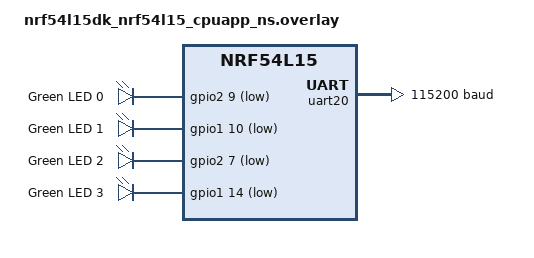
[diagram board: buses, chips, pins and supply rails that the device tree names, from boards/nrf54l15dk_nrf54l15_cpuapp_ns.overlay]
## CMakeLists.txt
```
cmake_minimum_required(VERSION 3.20.0)

find_package(Zephyr REQUIRED HINTS $ENV{ZEPHYR_BASE})
project(gradient_srv)

# Workaround for NCS 3.0.1 build failure on nRF54L15
# Ensures soc.c correctly identifies the Zephyr environment during TF-M build
if(CONFIG_TF_M)
	set(TFM_PLATFORM_EXT_CONFIG_FLAGS "-D__ZEPHYR__=1 -DMBEDTLS_PSA_CRYPTO_USER_CONFIG_FILE=\\\"nrf-psa-crypto-user-config.h\\\"" CACHE STRING "TFM extra flags" FORCE)
endif()

# NORDIC SDK APP START
target_sources(app PRIVATE
	src/main.c
	src/model_handler.c
	src/gradient_srv.c
	src/neighbor_table.c
	src/routing_policy.c
	src/led_indication.c
	src/data_forward.c
	src/gradient_work.c
	src/reverse_routing.c
	src/heartbeat.c
	src/shell_commands.c
	src/packet_stats.c
	src/sensor_manager.c
	src/sensor_shell.c
	src/storage.c
	src/teds_tlv.c)
target_include_directories(app PRIVATE include)
# NORDIC SDK APP END
```

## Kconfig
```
#
# Copyright (c) 2020 Nordic Semiconductor
#
# SPDX-License-Identifier: LicenseRef-Nordic-5-Clause
#

source "Kconfig.zephyr"

menu "Nordic Bluetooth Mesh chat client sample"

config BT_MESH_GRADIENT_SRV_FORWARDING_TABLE_SIZE
    int "Forwarding table size"
    default 15
    range 1 255
    help
      Maximum number of entries in the forwarding table.
      Each entry contains address, RSSI, and gradient information
      for routing decisions. Larger values provide more routing
      options but consume more memory.

config BT_MESH_GRADIENT_SRV_MESSAGE_LENGTH
    int "Max length of the message to be sent over mesh"
    default 40
    range 0 255
    help
      Impacts on memory size occupied by the buffer of a message to be
      published. This does not include null terminator. The message must also
      fit into the application SDU. Adjust BT_MESH_TX_SEG_MAX and
      BT_MESH_RX_SEG_MAX to be able to receive the longest messages.

config BT_MESH_CHAT_SAMPLE_PRESENCE_CACHE_SIZE
    int "Presence cache size"
    default 10
    range 0 32767
    help
      Presence cache stores previously received presence of chat clients.
      Recommended to be as big as number of chat clients in the mesh network.

config BT_MESH_GRADIENT_SINK_NODE
    bool "Configure this node as sink node"
    default n
    help
      If enabled, this node will be configured as the sink node
      (gradient = 0) in the gradient routing protocol.
      Only ONE node in the network should have this enabled.

config BT_MESH_GRADIENT_SRV_HEARTBEAT_ENABLED
    bool "Enable heartbeat mechanism for route maintenance"
    default y
    help
      When enabled, each node (except Gateway) will periodically send
      a heartbeat DATA packet to maintain its route in the reverse
      routing tables of upstream nodes and Gateway.
      
      This ensures Gateway can always send BACKPROP_DATA to any node,
      even if that node hasn't sent real data recently.

config BT_MESH_GRADIENT_SRV_HEARTBEAT_INTERVAL_SEC
    int "Heartbeat maintenance interval in seconds (Stable state)"
    default 3600
    range 10 7200
    depends on BT_MESH_GRADIENT_SRV_HEARTBEAT_ENABLED
    help
      The interval between heartbeats when the network is STABLE (Maintenance Mode).
      
      The system uses an Adaptive Heartbeat mechanism:
      1. Starts FAST (5s) when joining or changing parent.
      2. Slows down gradually (10s -> 20s).
      3. Finally settles at THIS value (default 3600s = 1 hour).
      
      Note: This value must be significantly smaller than RRT_TIMEOUT_SEC.

config BT_MESH_GRADIENT_SRV_RRT_TIMEOUT_SEC
    int "Reverse routing table entry timeout in seconds"
    default 7200
    range 60 20000
    help
      How long a reverse route entry stays valid without being refreshed.
      
      When a node sends DATA (including heartbeat), the route to that node
      is refreshed. If no DATA is received from a node within this timeout,
      the route entry will be removed.
      
      Recommended: At least 2x HEARTBEAT_INTERVAL_SEC.
      Default 7200s (2 hours) allows a node in Maintenance Mode (1 hour)
      to miss one heartbeat packet without losing connectivity.

config BT_MESH_GRADIENT_SRV_RRT_MAX_DEST
    int "Max reverse routes per neighbor"
    default 45
    range 5 500
    help
      Maximum number of destination nodes that can be stored in the 
      Reverse Routing Table for a single immediate neighbor.
      
      For the Gateway (Sink Node), this value should be at least equal 
      to the total number of nodes in the network, as one neighbor 
      might be the next-hop for all other nodes.
      
      Impact: Higher values consume more heap memory (approx 16 bytes per entry).

config BT_MESH_TOPO_POLL_INTERVAL
    int "Topology polling interval in seconds (Sink broadcasts OP_TOPO_REQ)"
    default 30
    range 10 120
    help
      How often the Sink node broadcasts a topology request to all nodes.
      Each sensor will respond with its neighborhood snapshot after a
      random jitter delay (0-8s). Lower values give fresher data for ML
      but increase network overhead.

endmenu

module = bt_mesh_gradient_srv
module-str = BT Mesh Chat Client model
source "${ZEPHYR_BASE}/subsys/logging/Kconfig.template.log_config"
```

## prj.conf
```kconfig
#
# Copyright (c) 2020 Nordic Semiconductor ASA
#
# SPDX-License-Identifier: LicenseRef-Nordic-5-Clause
#
CONFIG_NCS_SAMPLES_DEFAULTS=y

# Enable logging
CONFIG_LOG=y
CONFIG_LOG_BUFFER_SIZE=4096

# Deferred logging helps improve LPN power consumption
# when friendship is established.
CONFIG_LOG_MODE_DEFERRED=y

# General configuration
CONFIG_NCS_APPLICATION_BOOT_BANNER_STRING="Mesh Chat"
CONFIG_SYSTEM_WORKQUEUE_STACK_SIZE=4096
CONFIG_FLASH=y
CONFIG_FLASH_MAP=y
CONFIG_NVS=y
CONFIG_SETTINGS=y
CONFIG_NVS_LOOKUP_CACHE=y
CONFIG_SETTINGS_NVS_NAME_CACHE=y
CONFIG_HWINFO=y
CONFIG_DK_LIBRARY=y
CONFIG_PM_PARTITION_SIZE_SETTINGS_STORAGE=0x8000
CONFIG_SOC_FLASH_NRF_PARTIAL_ERASE=y

# Bluetooth configuration
CONFIG_BT=y
CONFIG_BT_DEVICE_NAME="Mesh Chat"
CONFIG_BT_L2CAP_TX_BUF_COUNT=8
CONFIG_BT_OBSERVER=y
CONFIG_BT_PERIPHERAL=y
CONFIG_BT_SETTINGS=y

# Disable unused Bluetooth features
CONFIG_BT_CTLR_LE_ENC=n
CONFIG_BT_PHY_UPDATE=n
CONFIG_BT_CTLR_CHAN_SEL_2=n
CONFIG_BT_CTLR_MIN_USED_CHAN=n
CONFIG_BT_CTLR_PRIVACY=n

# Bluetooth Mesh configuration
CONFIG_BT_MESH=y
CONFIG_BT_MESH_FRIEND=n
CONFIG_BT_MESH_PB_GATT=y
CONFIG_BT_MESH_GATT_PROXY=y
CONFIG_BT_MESH_DK_PROV=y
CONFIG_GPIO=y

CONFIG_BT_MESH_CRPL=64
CONFIG_BT_MESH_SEQ_STORE_RATE=50000

# Cấu hình Hiệu năng cao (Tối ưu cho 40 node báo cáo đồng thời)
CONFIG_BT_MESH_TX_SEG_MSG_COUNT=20
CONFIG_BT_MESH_RX_SEG_MSG_COUNT=40
CONFIG_BT_MESH_RX_SEG_MAX=20
CONFIG_BT_MESH_TX_SEG_MAX=20

# Nâng cấp bảng định tuyến cho mạng lớn (40-60 node)
CONFIG_BT_MESH_GRADIENT_SRV_FORWARDING_TABLE_SIZE=60
CONFIG_BT_MESH_GRADIENT_SRV_RRT_MAX_DEST=60

# Tăng bộ đệm quảng cáo (Quan trọng để giải phóng hàng đợi nhanh)
CONFIG_BT_MESH_ADV_BUF_COUNT=64

# Enable Bluetooth Mesh models debug logs
CONFIG_BT_MESH_LOG_LEVEL_DBG=y

# Enable Shell module and use UART as a backend
CONFIG_SHELL=y
CONFIG_SHELL_BACKEND_SERIAL=y
CONFIG_FLASH_SHELL=n

# Enable heap for dynamic memory allocation (k_malloc/k_free)
CONFIG_HEAP_MEM_POOL_SIZE=4096


# QUAN TRỌNG: Ngăn Shell đợi tín hiệu DTR (Data Terminal Ready)
# Vì Raspberry Pi nối GPIO sẽ không gửi tín hiệu DTR này.
CONFIG_SHELL_BACKEND_SERIAL_CHECK_DTR=n
CONFIG_UART_LINE_CTRL=n

# Đảm bảo log đi qua UART ngay lập tức (hạn chế buffer quá lâu)
CONFIG_LOG_PROCESS_TRIGGER_THRESHOLD=1
CONFIG_LOG_PROCESS_THREAD_STARTUP_DELAY_MS=0
CONFIG_LOG_BACKEND_RTT=n

# --- Topology Reporting ---
CONFIG_BT_MESH_TOPO_POLL_INTERVAL=60

#CONFIG_BT_MESH_GRADIENT_SINK_NODE=y

# Enable Mesh Statistics for Topo reporting (Queue Load)
CONFIG_BT_MESH_STATISTIC=y


# --- Sensor Management (IEEE 1451) ---
CONFIG_ADC=y
CONFIG_CJSON_LIB=y
CONFIG_FPU=y
CONFIG_CBPRINTF_FP_SUPPORT=y
```

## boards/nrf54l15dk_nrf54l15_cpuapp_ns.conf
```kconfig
#
# Copyright (c) 2024 Nordic Semiconductor ASA
#
# SPDX-License-Identifier: LicenseRef-Nordic-5-Clause
#
################################################################################
# Application overlay - nrf54l15 (Non-Secure)

CONFIG_SOC_FLASH_NRF_PARTIAL_ERASE=n
CONFIG_NVS=n
CONFIG_NVS_LOOKUP_CACHE=n
CONFIG_SETTINGS_NVS_NAME_CACHE=n
CONFIG_ZMS=y
CONFIG_SETTINGS_ZMS_CUSTOM_SECTOR_COUNT=y
CONFIG_SETTINGS_ZMS_SECTOR_COUNT=8
CONFIG_ZMS_LOOKUP_CACHE=y
CONFIG_ZMS_LOOKUP_CACHE_SIZE=512
CONFIG_ZMS_LOOKUP_CACHE_FOR_SETTINGS=y
CONFIG_SYSTEM_WORKQUEUE_STACK_SIZE=4096
CONFIG_BT_RX_STACK_SIZE=5120
```

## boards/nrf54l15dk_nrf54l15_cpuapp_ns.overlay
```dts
/ {
    leds {
        compatible = "gpio-leds";
        led0: led_0 {
            gpios = <&gpio2 9 GPIO_ACTIVE_LOW>;
            label = "Green LED 0";
        };
        led1: led_1 {
            gpios = <&gpio1 10 GPIO_ACTIVE_LOW>;
            label = "Green LED 1";
        };
        led2: led_2 {
            gpios = <&gpio2 7 GPIO_ACTIVE_LOW>;
            label = "Green LED 2";
        };
        led3: led_3 {
            gpios = <&gpio1 14 GPIO_ACTIVE_LOW>;
            label = "Green LED 3";
        };
    };
};

/* ========================================================================
 * CẤU HÌNH UART CHO RASPBERRY PI
 * Tắt Hardware Flow Control để giao tiếp chỉ với 3 dây (TX, RX, GND)
 * ======================================================================== */

&uart20 {
    /* Xóa thuộc tính yêu cầu chân RTS/CTS */
    /delete-property/ hw-flow-control;
    
    /* Đảm bảo tốc độ Baudrate khớp với Raspberry Pi */
    current-speed = <115200>;
};
```

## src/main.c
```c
/*
 * Copyright (c) 2019 Nordic Semiconductor ASA
 *
 * SPDX-License-Identifier: LicenseRef-Nordic-5-Clause
 */

/** @file
 *  @brief Nordic Mesh light sample
 */
#include <zephyr/bluetooth/bluetooth.h>
#include <bluetooth/mesh/models.h>
#include <bluetooth/mesh/dk_prov.h>
#include <dk_buttons_and_leds.h>
#include "model_handler.h"
#include "storage.h"
#include "sensor_manager.h"

#include <zephyr/logging/log.h>
LOG_MODULE_REGISTER(chat, CONFIG_LOG_DEFAULT_LEVEL);

static void bt_ready(int err)
{
	if (err) {
		printk("Bluetooth init failed (err %d)\n", err);
		return;
	}

	printk("Bluetooth initialized\n");

	err = dk_leds_init();
	if (err) {
		printk("Initializing LEDs failed (err %d)\n", err);
		return;
	}

	err = dk_buttons_init(NULL);
	if (err) {
		printk("Initializing buttons failed (err %d)\n", err);
		return;
	}

	err = bt_mesh_init(bt_mesh_dk_prov_init(), model_handler_init());
	if (err) {
		printk("Initializing mesh failed (err %d)\n", err);
		return;
	}

	if (IS_ENABLED(CONFIG_SETTINGS)) {
		settings_load();
	}

	/* This will be a no-op if settings_load() loaded provisioning info */
	bt_mesh_prov_enable(BT_MESH_PROV_ADV | BT_MESH_PROV_GATT);

	printk("Mesh initialized\n");
}

int main(void)
{
	int err;

	printk("Initializing...\n");

	/* Initialize Sensor Storage & Manager */
	storage_init();
	sensor_manager_init();

	err = bt_enable(bt_ready);
	if (err) {
		printk("Bluetooth init failed (err %d)\n", err);
	}

	return 0;
}
```

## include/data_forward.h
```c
/*
 * Copyright (c) 2024 Nordic Semiconductor ASA
 *
 * SPDX-License-Identifier: LicenseRef-Nordic-5-Clause
 */

#ifndef DATA_FORWARD_H
#define DATA_FORWARD_H

#include "gradient_srv.h"
#include <stdint.h>

#ifdef __cplusplus
extern "C" {
#endif

/**
 * @brief Initialize data forwarding module
 *
 * Must be called before using any data forwarding functions.
 */
void data_forward_init(void);

/**
 * @brief Forward data packet to next hop
 *
 * Attempts to send data to the best next hop. If sending fails,
 * automatically retries with the next entry in forwarding table.
 * Packet format: [original_source: 2 bytes] + [data: 2 bytes]
 *
 * @param gradient_srv Pointer to gradient server instance
 * @param data Data payload to forward
 * @param original_source Address of node that originally created the packet
 * @param sender_addr Address of immediate sender (to avoid sending back)
 *
 * @return 0 on success, negative error code on failure
 */
int data_forward_send(struct bt_mesh_gradient_srv *gradient_srv,
                      uint16_t data, uint16_t original_source, 
                      uint16_t sender_addr, uint8_t current_hop_count,
                      int8_t path_min_rssi);

/**
 * @brief Send data packet directly (for button press, no retry on sender skip)
 *
 * @param gradient_srv Pointer to gradient server instance
 * @param addr Destination address
 * @param data Data payload to send
 *
 * @return 0 on success, negative error code on failure
 */
int data_forward_send_direct(struct bt_mesh_gradient_srv *gradient_srv,
                             uint16_t addr, uint16_t data, 
                             int8_t initial_rssi);

const neighbor_entry_t *find_strict_upstream_parent(
    struct bt_mesh_gradient_srv *srv, uint16_t exclude_addr);

#ifdef __cplusplus
}
#endif

#endif /* DATA_FORWARD_H */
```

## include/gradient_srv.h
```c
#ifndef BT_MESH_GRADIENT_SRV_H__
#define BT_MESH_GRADIENT_SRV_H__

#include <zephyr/bluetooth/mesh.h>
#include <bluetooth/mesh/model_types.h>
#include "gradient_types.h"

#ifdef __cplusplus
extern "C" {
#endif

/* .. include_startingpoint_gradient_srv_rst_1 */
#define BT_MESH_GRADIENT_SRV_VENDOR_COMPANY_ID    CONFIG_BT_COMPANY_ID_NORDIC

/** Model ID of the Gradient Server model. */
#define BT_MESH_GRADIENT_SRV_VENDOR_MODEL_ID      0x000A

/** Gradient message opcode. */
#define BT_MESH_GRADIENT_SRV_OP_GRADIENT_STATUS BT_MESH_MODEL_OP_3(0x0A, \
                        BT_MESH_GRADIENT_SRV_VENDOR_COMPANY_ID)

/** Data message opcode. */
#define BT_MESH_GRADIENT_SRV_OP_DATA_MESSAGE BT_MESH_MODEL_OP_3(0x0B, \
                        BT_MESH_GRADIENT_SRV_VENDOR_COMPANY_ID)

/** Backprop data message opcode (downlink from Gateway to nodes). */
#define BT_MESH_GRADIENT_SRV_OP_BACKPROP_DATA BT_MESH_MODEL_OP_3(0x0C, \
                        BT_MESH_GRADIENT_SRV_VENDOR_COMPANY_ID)

/* [NEW] Report Request opcode (Broadcast from Sink to Nodes - STOP & REPORT) */
#define BT_MESH_GRADIENT_SRV_OP_REPORT_REQ BT_MESH_MODEL_OP_3(0x0D, \
                        BT_MESH_GRADIENT_SRV_VENDOR_COMPANY_ID)

/* [NEW] Report Response opcode (Unicast from Node to Sink with TotalTx) */
#define BT_MESH_GRADIENT_SRV_OP_REPORT_RSP BT_MESH_MODEL_OP_3(0x0E, \
                        BT_MESH_GRADIENT_SRV_VENDOR_COMPANY_ID)

/* [NEW] Test Start opcode (Broadcast from Sink to Nodes - START) */
#define BT_MESH_GRADIENT_SRV_OP_TEST_START BT_MESH_MODEL_OP_3(0x0F, \
                        BT_MESH_GRADIENT_SRV_VENDOR_COMPANY_ID)

/* [NEW] Report ACK opcode (Unicast from Sink to Node - Reliability) */
#define BT_MESH_GRADIENT_SRV_OP_REPORT_ACK BT_MESH_MODEL_OP_3(0x10, \
                        BT_MESH_GRADIENT_SRV_VENDOR_COMPANY_ID)

/* [NEW] Report Request Unicast opcode (Unicast from Sink to Node - STRESS STATS) */
#define BT_MESH_GRADIENT_SRV_OP_REPORT_REQ_UNICAST BT_MESH_MODEL_OP_3(0x11, \
                        BT_MESH_GRADIENT_SRV_VENDOR_COMPANY_ID)

/* [NEW] Downlink Report opcode (Unicast from Sink to Node - FINAL STATS) */
#define BT_MESH_GRADIENT_SRV_OP_DOWNLINK_REPORT BT_MESH_MODEL_OP_3(0x12, \
                        BT_MESH_GRADIENT_SRV_VENDOR_COMPANY_ID)

/* [NEW] PONG opcode (Downlink response to DATA) */
#define BT_MESH_GRADIENT_SRV_OP_PONG BT_MESH_MODEL_OP_3(0x13, \
                        BT_MESH_GRADIENT_SRV_VENDOR_COMPANY_ID)

/* [NEW] Topology Request opcode (Broadcast from Sink to Nodes) */
#define BT_MESH_GRADIENT_SRV_OP_TOPO_REQ BT_MESH_MODEL_OP_3(0x14, \
                        BT_MESH_GRADIENT_SRV_VENDOR_COMPANY_ID)

/* [NEW] Topology Report opcode (Uplink from Node to Sink) */
#define BT_MESH_GRADIENT_SRV_OP_TOPO_REP BT_MESH_MODEL_OP_3(0x15, \
                        BT_MESH_GRADIENT_SRV_VENDOR_COMPANY_ID)

/* [NEW] Backprop Broadcast (Phase 1 Hybrid Push) */
#define BT_MESH_GRADIENT_SRV_OP_BACKPROP_BROADCAST BT_MESH_MODEL_OP_3(0x16, \
                        BT_MESH_GRADIENT_SRV_VENDOR_COMPANY_ID)

/* [NEW] Sensor Interval opcode — Gateway → Node (unicast or broadcast) */
/* Sets the periodic SENSOR_DATA transmission interval for a target node.  */
/* Payload: dest_addr(2B LE) + interval_sec(2B LE) + ttl(1B) = 5 bytes     */
/* dest_addr == 0xFFFF → broadcast to ALL non-sink nodes (no relay needed) */
#define BT_MESH_GRADIENT_SRV_OP_SENSOR_INTERVAL BT_MESH_MODEL_OP_3(0x17, \
                        BT_MESH_GRADIENT_SRV_VENDOR_COMPANY_ID)

/* [NEW] Sensor Data Telemetry opcode — Uplink from Node to Sink */
/* Payload: Src(2B) + Hop(1B) + Count(1B) + [ID(1B) + Val(2B)] * Count */
#define BT_MESH_GRADIENT_SRV_OP_SENSOR_DATA     BT_MESH_MODEL_OP_3(0x18, \
                        BT_MESH_GRADIENT_SRV_VENDOR_COMPANY_ID)

#define BT_MESH_GRADIENT_SRV_MSG_MINLEN_MESSAGE  1
#define BT_MESH_GRADIENT_SRV_MSG_MAXLEN_MESSAGE  64 /* Increased safety margin */
#define BT_MESH_GRADIENT_SRV_DATA_MSG_LEN        7  /* Src(2)+Data(2)+TTL(1)+Hop(1)+MinRSSI(1) */
#define BT_MESH_GRADIENT_SRV_BACKPROP_DEFAULT_TTL  10

/** Minimum TTL to forward (drop if TTL <= this value) */
#define BT_MESH_GRADIENT_SRV_BACKPROP_MIN_TTL      1

/** Heartbeat data marker - distinguishes heartbeat from real data */
#define BT_MESH_GRADIENT_SRV_HEARTBEAT_MARKER      0xFFFF


#define REPORT_RETRY_TIMEOUT_MS 3000 // Tăng thời gian chờ cơ bản
#define REPORT_MAX_RETRIES      10   // Tăng số lần thử lại tối đa

#ifndef CONFIG_BT_MESH_GRADIENT_SRV_NODE_TIMEOUT_MS
#define CONFIG_BT_MESH_GRADIENT_SRV_NODE_TIMEOUT_MS 120000  // 120 giây (Publish every 40s)
#endif

/**
 * @brief Forwarding table context - alias to neighbor_entry_t
 * * Uses neighbor_entry_t from gradient_types.h for consistency across modules.
 */
typedef neighbor_entry_t bt_mesh_gradient_srv_forwarding_ctx;

/* Forward declaration of the Bluetooth Mesh Chat Client model context. */
struct bt_mesh_gradient_srv;

/* .. include_startingpoint_gradient_srv_rst_2 */
/** @def BT_MESH_MODEL_GRADIENT_SRV
 *
 * @brief Bluetooth Mesh Chat Client model composition data entry.
 *
 * @param[in] _gradient Pointer to a @ref bt_mesh_gradient_srv instance.
 */
#define BT_MESH_MODEL_GRADIENT_SRV(_gradient)                                  \
        BT_MESH_MODEL_VND_CB(BT_MESH_GRADIENT_SRV_VENDOR_COMPANY_ID,       \
            BT_MESH_GRADIENT_SRV_VENDOR_MODEL_ID,                      \
            _bt_mesh_gradient_srv_op, &(_gradient)->pub,                   \
            BT_MESH_MODEL_USER_DATA(struct bt_mesh_gradient_srv,       \
                        _gradient),                        \
            &_bt_mesh_gradient_srv_cb)
/* .. include_endpoint_gradient_srv_rst_2 */

/** Bluetooth Mesh Chat Client model handlers. */
struct bt_mesh_gradient_srv_handlers {
    /** @brief Called after the node has been provisioned, or after all
     * mesh data has been loaded from persistent storage.
     *
     * @param[in] cli Chat Client instance that has been started.
     */
    void (*const start)(struct bt_mesh_gradient_srv *chat);

    /** @brief Called when BACKPROP_DATA is received and this node is the destination.
     *
     * @param[in] srv Gradient server instance.
     * @param[in] data The received data payload.
     */
    void (*const data_received)(struct bt_mesh_gradient_srv *srv, uint16_t data);

    /** [NEW] Called when REPORT_REQ is received (Triggered on Sensor Nodes)
     *
     * The application should handle this by stopping transmission and 
     * sending back a REPORT_RSP containing the Total Transmitted Count.
     *
     * @param[in] srv Gradient server instance.
     */
    void (*const report_req_received)(struct bt_mesh_gradient_srv *srv);

    /** [NEW] Called when TEST_START is received (Triggered on Sensor Nodes)
     *
     * The application should handle this by starting the periodic data transmission.
     *
     * @param[in] srv      Gradient server instance.
     * @param[in] interval Packet interval in milliseconds.
     */
    void (*const test_start_received)(struct bt_mesh_gradient_srv *srv, uint16_t interval);

    /** [NEW] Called when SENSOR_DATA is received and this node is the sink (Gateway).
     *
     * @param[in] srv  Gradient server instance.
     * @param[in] src  Original source address.
     * @param[in] pkt  Pointer to parsed sensor packet (stack allocated).
     */
    void (*const sensor_data_received)(struct bt_mesh_gradient_srv *srv, 
                                       uint16_t src, 
                                       const void *pkt);
};

/* ═══════════════════════════════════════════════════════════════════
 * Topology Reporting Constants & Types
 * ═══════════════════════════════════════════════════════════════════ */

/** Maximum neighbors tracked in a single Topology report session */
#define TOPO_REP_MAX_NEIGHBORS  16

/** Neighbors per page: Header=17B, each neighbor=6B, 4 per page = 41B total */
#define TOPO_REP_MAX_PER_PAGE   4

/** Maximum payload bytes in a single TOPO_REP message */
#define TOPO_REP_MAX_PAYLOAD    44  /* 20B header + 4*6B neighbors */

/**
 * @brief Neighbor item for Topology snapshot (packed into TOPO_REP)
 */
struct neighbor_item {
  uint16_t addr;         /**< Mesh unicast address */
  int8_t   rssi;         /**< RSSI at time of snapshot */
  uint8_t  grad;         /**< Gradient value */
  uint16_t link_uptime;  /**< Link uptime in seconds (since first_seen) */
};

/**
 * @brief Sensor-side Topology reporting context
 *        Holds snapshot data and drip-feed state machine.
 */
struct sensor_topo_ctx {
  struct neighbor_item snapshot[TOPO_REP_MAX_NEIGHBORS];
  uint8_t total_valid;             /**< Valid neighbors in snapshot */
  uint8_t total_pages;             /**< Calculated number of pages */
  uint8_t current_page;            /**< Current page being sent (1-indexed) */
  uint16_t last_reported_parent;   /**< For Delta Reporting trigger */
  uint16_t drop_count_snapshot;    /**< [UPD] Queue drop count snapshot (uint16) */
  uint16_t fwd_rate_snapshot;      /**< [NEW] Forward rate snapshot */
  uint32_t total_sent_snapshot;    /**< [NEW] Absolute total packets sent snapshot */
  bool is_reporting;               /**< Lock: true while drip-feed is active */
  uint8_t req_seq_id;              /**< Sequence ID from polling request (0-15) */
  struct k_work_delayable reply_work; /**< Delayed work for drip-feed TX */
};

/* .. include_startingpoint_gradient_srv_rst_3 */
/**
 * Bluetooth Mesh Chat Client model context.
 */
struct bt_mesh_gradient_srv {
    /** Access model pointer. */
    const struct bt_mesh_model *model;
    /** Publish parameters. */
    struct bt_mesh_model_pub pub;
    /** Publication message. */
    struct net_buf_simple pub_msg;
    /** Publication message buffer. */
    uint8_t buf[BT_MESH_MODEL_BUF_LEN(BT_MESH_GRADIENT_SRV_OP_GRADIENT_STATUS,
                      BT_MESH_GRADIENT_SRV_MSG_MAXLEN_MESSAGE)];
    /** Handler function structure. */
    const struct bt_mesh_gradient_srv_handlers *handlers;

    uint8_t gradient;

    /** Mutex to protect forwarding table access */
    struct k_mutex forwarding_table_mutex;

    bt_mesh_gradient_srv_forwarding_ctx
        forwarding_table[
            CONFIG_BT_MESH_GRADIENT_SRV_FORWARDING_TABLE_SIZE];

    /* Reliable Reporting Context */
    struct k_work_delayable report_retry_work;
    uint8_t report_retry_count;
    bool is_report_pending;

    /* Topology Reporting Context */
    struct sensor_topo_ctx topo_ctx;
    struct k_work_delayable topo_poll_work;

    /* [NEW] Account for application-level send failures (Soft Drops) */
    uint32_t soft_drop_count;

    /* [NEW] SDN 2-Phase Commit State */
    uint16_t sdn_next_hop_pending;
    uint16_t sdn_next_hop_active;
    int64_t sdn_route_expiry; // [NEW] Soft-state: Time when active route expires
};
/* .. include_endpoint_gradient_srv_rst_3 */


/** @brief Send Gradient Beacon.
 *
 * @param[in] cli Chat Client model instance to send the message.
 * @param[in] msg Pointer to a text message to send. Must be terminated with
 * a null character, '\0'.
 *
 * @retval 0 Successfully sent the message.
 * @retval -EADDRNOTAVAIL Publishing is not configured.
 * @retval -EAGAIN The device has not been provisioned.
 */
int bt_mesh_gradient_srv_gradient_send(struct bt_mesh_gradient_srv *gradient_srv);

/** @brief Send a text message to a specified destination.
 *
 * @param[in] cli  Chat Client model instance to send the message.
 * @param[in] addr Address of the chat client to send message to.
 * @param[in] msg  Pointer to a text message to send. Must be terminated with
 * a null character, '\0'.
 *
 * @retval 0 Successfully sent the message.
 * @retval -EINVAL The model is not bound to an application key.
 * @retval -EAGAIN The device has not been provisioned.
 */
int bt_mesh_gradient_srv_data_send(struct bt_mesh_gradient_srv *gradient_srv,
                      uint16_t addr,
                      uint16_t data,
                      int8_t initial_rssi);

/** @brief Send BACKPROP_DATA to a specific destination.
 *
 * Looks up the reverse routing table to find nexthop, then sends
 * BACKPROP_DATA packet towards the destination.
 *
 * @param gradient_srv Pointer to gradient server instance.
 * @param dest_addr Address of final destination node.
 * @param payload Data payload to send.
 *
 * @retval 0 Successfully sent the message.
 * @retval -EINVAL Cannot send to self.
 * @retval -ENETUNREACH No route to destination.
 * @retval -EAGAIN The device has not been provisioned.
 */
int bt_mesh_gradient_srv_backprop_send(struct bt_mesh_gradient_srv *gradient_srv,
                                       uint16_t dest_addr,
                                       uint16_t payload);

/** @brief [UPDATED] Broadcast a REPORT REQUEST to all nodes.
 *
 * This function should be called by the SINK NODE to trigger the 
 * end-of-test reporting phase (STOP).
 *
 * @param gradient_srv Pointer to gradient server instance.
 * @param force_new_id If true, increments the request ID for a new session.
 *                     If false, re-uses the current ID for reliable re-transmission.
 * @retval 0 Successfully sent.
 */
int bt_mesh_gradient_srv_send_report_req(struct bt_mesh_gradient_srv *gradient_srv, bool force_new_id);

/** @brief [UPDATED] Broadcast a TEST START command to all nodes.
 *
 * This function should be called by the SINK NODE to trigger the 
 * start of data transmission.
 *
 * @param gradient_srv Pointer to gradient server instance.
 * @param force_new_id If true, increments the test ID for a new session.
 *                     If false, re-uses the current ID for reliable re-transmission.
 * @retval 0 Successfully sent.
 */
int bt_mesh_gradient_srv_send_test_start(struct bt_mesh_gradient_srv *srv, bool force_new_id, uint16_t interval_ms);

/** @brief [NEW] Send a REPORT RESPONSE (Unicast) to the Sink.
 *
 * This function should be called by the SENSOR NODE to report its
 * Total Transmitted Count (PDR calculation).
 *
 * @param gradient_srv Pointer to gradient server instance.
 * @param total_tx Total packets sent during the test.
 * @retval 0 Successfully sent.
 */
int bt_mesh_gradient_srv_report_rsp_send(struct bt_mesh_gradient_srv *gradient_srv);

/** @brief [NEW] Send a DOWNLINK REPORT (Unicast) to a Sensor Node.
 *
 * This function should be called by the SINK NODE to send its final
 * TX count to the target Sensor.
 *
 * @param gradient_srv Pointer to gradient server instance.
 * @param dest_addr Target sensor address.
 * @param total_tx Total packets sent by Sink.
 * @retval 0 Successfully sent.
 */
int bt_mesh_gradient_srv_send_downlink_report(struct bt_mesh_gradient_srv *gradient_srv, 
                                              uint16_t dest_addr, uint16_t total_tx);

/**
 * @brief Send a PONG response to a DATA message (used by Sink)
 * @param gradient_srv Pointer to gradient server
 * @param dest_addr Original source of the DATA message
 * @param seq Sequence number to match
 * @return 0 on success, error code otherwise
 */
int bt_mesh_gradient_srv_send_pong(struct bt_mesh_gradient_srv *gradient_srv, 
                                   uint16_t dest_addr, uint16_t seq);

/** @brief Initialize Topology Reporting subsystem.
 *  Called once during model_handler_init().
 *  @param srv Pointer to gradient server instance.
 */
void topo_routing_init(struct bt_mesh_gradient_srv *srv);

/** @brief Broadcast a TOPO_REQ to all nodes (Sink only).
 *  @param srv Pointer to gradient server instance.
 *  @param commit_flag Boolean to indicate if this is a commit request.
 *  @retval 0 Successfully sent.
 */
int bt_mesh_gradient_srv_send_topo_req(struct bt_mesh_gradient_srv *srv, bool commit_flag);

/** @brief [NEW] Send OP_SENSOR_INTERVAL command to set periodic data interval.
 *
 * Gateway-only function. Sends a command to update the SENSOR_DATA
 * transmission interval of a target node via BACKPROP unicast routing (RRT).
 *
 * @param srv          Pointer to gradient server instance.
 * @param dest_addr    Target node unicast address, OR 0xFFFF to broadcast
 *                     to ALL non-sink nodes in the network.
 * @param interval_sec New interval in seconds (1–65535). 0 is rejected.
 *
 * @retval 0              Successfully sent.
 * @retval -EINVAL        interval_sec == 0, or dest_addr == own address.
 * @retval -ENETUNREACH   No route to unicast destination in RRT.
 * @retval -EAGAIN        Device not provisioned.
 */
int bt_mesh_gradient_srv_send_sensor_interval(
    struct bt_mesh_gradient_srv *srv,
    uint16_t dest_addr,
    uint16_t interval_sec);

/** @brief [NEW] Send multi-sensor data packet to Sink.
 *
 * Collects data from sensor_manager and sends via OP_SENSOR_DATA.
 * Uses Gradient Routing (hop-by-hop) to reach the Sink.
 *
 * @param srv   Pointer to gradient server instance.
 * @param pkt   Pointer to sensor packet to send.
 * @return 0 on success, error code otherwise.
 */
int bt_mesh_gradient_srv_sensor_data_send(struct bt_mesh_gradient_srv *srv,
                                          const void *pkt);

/** @cond INTERNAL_HIDDEN */
extern const struct bt_mesh_model_op _bt_mesh_gradient_srv_op[];
extern const struct bt_mesh_model_cb _bt_mesh_gradient_srv_cb;
/** @endcond */

#ifdef __cplusplus
}
#endif

#endif /* BT_MESH_GRADIENT_SRV_H__ */

/** @} */
```

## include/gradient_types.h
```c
/*
 * Copyright (c) 2024 Nordic Semiconductor ASA
 *
 * SPDX-License-Identifier: LicenseRef-Nordic-5-Clause
 */

#ifndef GRADIENT_TYPES_H
#define GRADIENT_TYPES_H

#include <stdint.h>

/**
 * @brief Unassigned address constant for gradient routing
 */
#define GR_ADDR_UNASSIGNED 0x0000

/**
 * @brief Forward declaration for backprop_node (defined in reverse_routing.h)
 */
struct backprop_node;

/**
 * @brief Neighbor entry structure for gradient routing forwarding table
 * 
 * This is the canonical definition used by neighbor_table module.
 * bt_mesh_gradient_srv_forwarding_ctx in gradient_srv.h is a typedef alias
 * to this same structure.
 */
typedef struct neighbor_entry {
	uint16_t addr;      /**< Mesh unicast address of the neighbor */
	int8_t rssi;        /**< Received signal strength indicator */
	uint8_t gradient;   /**< Gradient value (distance to sink) */
	int64_t last_seen;  /**< Timestamp of last received message (uptime in ms) */
	int64_t first_seen; /**< Timestamp of first discovery (for link uptime) */
	struct backprop_node *backprop_dest; /**< Linked list of reachable destinations (for reverse routing) */
} neighbor_entry_t;

#endif /* GRADIENT_TYPES_H */
```

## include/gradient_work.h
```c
/*
 * Copyright (c) 2024 Nordic Semiconductor ASA
 *
 * SPDX-License-Identifier: LicenseRef-Nordic-5-Clause
 */

#ifndef GRADIENT_WORK_H
#define GRADIENT_WORK_H

#include "gradient_srv.h"
#include <stdint.h>

#ifdef __cplusplus
extern "C" {
#endif

/**
 * @brief Initialize gradient work handlers
 *
 * Initializes all workqueue items for gradient processing.
 * Must be called during model initialization.
 */
void gradient_work_init(void);

/**
 * @brief Start periodic cleanup timer
 *
 * Starts the cleanup work that removes expired neighbors.
 */
void gradient_work_start_cleanup(void);

/**
 * @brief Schedule initial gradient publish
 *
 * Schedules the first gradient beacon to be published after a short delay.
 */
void gradient_work_schedule_initial_publish(void);

/**
 * @brief Schedule gradient processing
 *
 * Queues gradient message for processing in work context.
 *
 * @param gradient_srv Pointer to gradient server instance
 * @param gradient Received gradient value
 * @param sender_addr Address of sender
 * @param rssi RSSI of received message
 */
void gradient_work_schedule_process(struct bt_mesh_gradient_srv *gradient_srv,
                                    uint8_t gradient, uint16_t sender_addr, int8_t rssi);

/**
 * @brief Set global gradient server reference
 *
 * @param gradient_srv Pointer to gradient server instance
 */
void gradient_work_set_srv(struct bt_mesh_gradient_srv *gradient_srv);

#ifdef __cplusplus
}
#endif

#endif /* GRADIENT_WORK_H */
```

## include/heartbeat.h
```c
/*
 * Copyright (c) 2024
 * SPDX-License-Identifier: Apache-2.0
 *
 * Sensor Data Periodic Transmission Module
 * (Formerly: Heartbeat Module)
 *
 * Purpose:
 * - Sends periodic SENSOR_DATA packets (marker 0xFFFF) to maintain reverse routes
 * - Interval configurable at runtime via Gateway command (OP_SENSOR_INTERVAL)
 * - Automatically stops when node becomes Gateway (gradient=0)
 * - Recovers connectivity when topology changes
 */

#ifndef HEARTBEAT_H__
#define HEARTBEAT_H__

#include <stdint.h>
#include <stdbool.h>

#ifdef __cplusplus
extern "C" {
#endif

/* Forward declaration */
struct bt_mesh_gradient_srv;

/**
 * @brief Initialize sensor data transmission module
 *
 * Sets up the work item and timer.
 * Must be called once during system initialization.
 */
void heartbeat_init(void);

/**
 * @brief Start periodic sensor data transmission
 *
 * Begins periodic sensor data cycle.
 * Includes a random initial delay (0-10s) to avoid collision storm.
 *
 * @param srv Pointer to gradient server instance
 *
 * @note Only starts if node is NOT Gateway and Heartbeat is enabled in Kconfig.
 */
void heartbeat_start(struct bt_mesh_gradient_srv *srv);

/**
 * @brief Stop heartbeat transmission
 *
 * Stops the timer. Call when node becomes Gateway or unprovisioned.
 */
void heartbeat_stop(void);

/**
 * @brief Update gradient value for sensor data logic
 *
 * Called when node's gradient changes.
 * - If new gradient is 0 (Gateway): Stops transmission.
 * - If gradient changes (but not 0): Triggers a reset.
 *
 * @param new_gradient New gradient value of this node
 */
void heartbeat_update_gradient(uint8_t new_gradient);

/**
 * @brief Trigger an immediate reset of the transmission cycle
 *
 * Reschedules the next sensor data packet with a short delay (100ms).
 * Call this when topology changes (gradient update, parent change).
 */
void heartbeat_trigger_reset(void);

/**
 * @brief Set the sensor data transmission interval at runtime
 *
 * Updates the interval and reschedules the next transmission immediately.
 * The new interval takes effect on the NEXT scheduled packet.
 *
 * @param interval_sec New interval in seconds (1 - 65535). 0 is rejected.
 *
 * @note NOT persistent across reboots. Reboot resets to default (20s).
 */
void heartbeat_set_interval(uint32_t interval_sec);

/**
 * @brief Get the current transmission interval in milliseconds
 *
 * @return Current interval in milliseconds (default 20000).
 *         Returns 0 if heartbeat is disabled in config.
 */
uint32_t heartbeat_get_interval_ms(void);

/**
 * @brief Check if heartbeat is currently active
 *
 * @return true if heartbeat timer is running
 */
bool heartbeat_is_active(void);

#ifdef __cplusplus
}
#endif

#endif /* HEARTBEAT_H__ */
```

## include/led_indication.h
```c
/*
 * Copyright (c) 2024 Nordic Semiconductor ASA
 *
 * SPDX-License-Identifier: LicenseRef-Nordic-5-Clause
 */

#ifndef LED_INDICATION_H__
#define LED_INDICATION_H__

#include <stdbool.h>

#ifdef __cplusplus
extern "C" {
#endif

/**
 * @brief Initialize LED indication module
 *
 * Must be called before using any other LED indication functions.
 */
void led_indication_init(void);

/**
 * @brief Indicate gradient message received
 *
 * Blinks LED to show a gradient beacon was received from a neighbor.
 */
void led_indicate_gradient_received(void);

/**
 * @brief Indicate data is being forwarded
 *
 * Blinks LED to show data packet is being forwarded towards sink.
 */
void led_indicate_data_forwarded(void);

/**
 * @brief Indicate data arrived at sink
 *
 * Toggles LED to show data packet reached the sink node.
 */
void led_indicate_sink_received(void);

/**
 * @brief Indicate backprop data received at destination
 *
 * Toggles LED 0 to show backprop packet reached the destination node.
 */
void led_indicate_backprop_received(void);

/**
 * @brief Indicate mesh attention state
 *
 * @param on true to start attention indication, false to stop
 */
void led_indicate_attention(bool on);

/**
 * @brief Indicate SDN route commitment
 *
 * Toggles LED 4 to show an AI-driven SDN route has been committed.
 */
void led_indicate_sdn_commit(void);

#ifdef __cplusplus
}
#endif

#endif /* LED_INDICATION_H */
```

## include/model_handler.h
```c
/*
 * Copyright (c) 2020 Nordic Semiconductor ASA
 *
 * SPDX-License-Identifier: LicenseRef-Nordic-5-Clause
 */

/**
 * @file
 * @brief Model handler
 */

#ifndef MODEL_HANDLER_H__
#define MODEL_HANDLER_H__

#include <zephyr/bluetooth/mesh.h>

#ifdef __cplusplus
extern "C" {
#endif

const struct bt_mesh_comp *model_handler_init(void);

void sink_start_test(uint32_t duration_ms, uint16_t interval_ms);
void sink_stop_test(void);

void sink_start_stress_test(uint16_t target_addr); /* [NEW] */

#ifdef __cplusplus
}
#endif

#endif /* MODEL_HANDLER_H__ */
```

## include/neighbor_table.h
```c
/*
 * Copyright (c) 2024 Nordic Semiconductor ASA
 *
 * SPDX-License-Identifier: LicenseRef-Nordic-5-Clause
 */

#ifndef NEIGHBOR_TABLE_H
#define NEIGHBOR_TABLE_H

#include "gradient_types.h"
#include <stddef.h>
#include <stdbool.h>

#ifdef __cplusplus
extern "C" {
#endif

/**
 * @brief Initialize neighbor table entries
 *
 * Sets all entries to unassigned state:
 * - addr = GR_ADDR_UNASSIGNED
 * - rssi = INT8_MIN
 * - gradient = UINT8_MAX
 * - last_seen = 0
 *
 * @param table Pointer to neighbor table array
 * @param table_size Number of entries in the table
 */
void nt_init(neighbor_entry_t *table, size_t table_size);

/**
 * @brief Update neighbor table with sorted insertion
 *
 * Inserts or updates a neighbor entry while maintaining sort order.
 * Sort priority: smaller gradient is better; on tie, higher RSSI is better.
 *
 * If sender already exists in table:
 * - Updates rssi, gradient, last_seen
 * - Moves entry to correct sorted position if needed
 *
 * If sender is new:
 * - Inserts at correct sorted position
 * - Shifts existing entries to make room
 *
 * @param table Pointer to neighbor table array
 * @param table_size Number of entries in the table
 * @param sender_addr Mesh address of the sender
 * @param sender_gradient Gradient value of the sender
 * @param sender_rssi RSSI of the received message
 * @param now_ms Current timestamp in milliseconds (from k_uptime_get)
 *
 * @return true if table was modified, false otherwise
 */
bool nt_update_sorted(neighbor_entry_t *table, size_t table_size,
                      uint16_t sender_addr, uint8_t sender_gradient, int8_t sender_rssi,
                      int64_t now_ms);

/**
 * @brief Get the best (first) entry in the neighbor table
 *
 * @param table Pointer to neighbor table array
 * @param table_size Number of entries in the table
 *
 * @return Pointer to best entry (index 0) if valid, NULL if table is empty
 */
const neighbor_entry_t *nt_best(const neighbor_entry_t *table, size_t table_size);

/**
 * @brief Get entry at specific index
 *
 * @param table Pointer to neighbor table array
 * @param table_size Number of entries in the table
 * @param idx Index to retrieve
 *
 * @return Pointer to entry if idx valid and addr not UNASSIGNED, NULL otherwise
 */
const neighbor_entry_t *nt_get(const neighbor_entry_t *table, size_t table_size, size_t idx);

/**
 * @brief Remove entry at specific index
 *
 * Removes the entry at the given index and shifts remaining entries up.
 * The last slot is reset to unassigned state.
 *
 * @param table Pointer to neighbor table array
 * @param table_size Number of entries in the table
 * @param idx Index to remove
 *
 * @return Address of removed entry, or GR_ADDR_UNASSIGNED if invalid
 */
uint16_t nt_remove(neighbor_entry_t *table, size_t table_size, size_t idx);

/**
 * @brief Count valid entries in the table
 *
 * @param table Pointer to neighbor table array
 * @param table_size Number of entries in the table
 *
 * @return Number of valid (non-unassigned) entries
 */
size_t nt_count(const neighbor_entry_t *table, size_t table_size);

/**
 * @brief Check if entry at index is expired
 *
 * @param table Pointer to neighbor table array
 * @param table_size Number of entries in the table
 * @param idx Index to check
 * @param current_time_ms Current time in milliseconds
 * @param timeout_ms Timeout threshold in milliseconds
 *
 * @return true if entry exists and is expired, false otherwise
 */
bool nt_is_expired(const neighbor_entry_t *table, size_t table_size, size_t idx,
                   int64_t current_time_ms, int64_t timeout_ms);

#ifdef __cplusplus
}
#endif

#endif /* NEIGHBOR_TABLE_H */
```

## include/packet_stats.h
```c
/*
 * Copyright (c) 2024 Nordic Semiconductor ASA
 *
 * SPDX-License-Identifier: LicenseRef-Nordic-5-Clause
 */

/**
 * @file packet_stats.h
 * @brief Packet Statistics Module for Control Overhead Tracking
 *
 * Tracks TX counts for:
 * - Gradient Beacon (CONTROL)
 * - Heartbeat (CONTROL)
 * - DATA packets
 *
 * Used to calculate Control Overhead = N_control / (N_control + N_data)
 */

#ifndef PACKET_STATS_H__
#define PACKET_STATS_H__

#include <stdint.h>
#include <stdbool.h>

#ifdef __cplusplus
extern "C" {
#endif

/**
 * @brief RTT Sample structure
 */
struct rtt_sample {
    uint16_t seq;
    uint16_t rtt_ms;
};

/**
 * @brief Packet statistics structure
 */
struct packet_stats {
    uint32_t gradient_beacon_tx;   /**< Gradient Beacon TX count */
    uint32_t heartbeat_tx;         /**< Heartbeat TX count */
    uint32_t data_tx;              /**< DATA packet TX count (Source) */
    uint32_t data_fwd_tx;          /**< DATA packet Forwarded count (Relay) */
    uint32_t route_change_count;   /**< Number of times best parent changed */
    uint32_t rx_data_count;        /**< [NEW] Count received DATA/BACKPROP at destination */
    uint32_t queue_drop_count;     /**< [NEW] Count packet drops (queue full/no buffer) */
};

/**
 * @brief Initialize packet statistics (reset all counters to 0)
 */
void pkt_stats_init(void);

/**
 * @brief Record that a DATA packet was sent (start RTT timer)
 * @param seq Sequence number of the packet
 */
void pkt_stats_record_sent(uint16_t seq);

/**
 * @brief Record that a PONG was received (stop RTT timer and store)
 * @param seq Sequence number of the packet
 * @return True if buffer is full (50 samples reached)
 */
bool pkt_stats_record_pong(uint16_t seq);

/**
 * @brief Get RTT history history
 * @param buffer Buffer to fill with RTT samples
 * @param max_count Maximum number of samples to copy
 * @return Actual number of samples copied
 */
uint16_t pkt_stats_get_rtt_history(struct rtt_sample *buffer, uint16_t max_count);

/**
 * @brief Clear RTT history after reporting
 */
void pkt_stats_clear_rtt_history(void);

/**
 * @brief Increment Gradient Beacon TX counter
 */
void pkt_stats_inc_gradient_beacon(void);

/**
 * @brief Increment Heartbeat TX counter
 */
void pkt_stats_inc_heartbeat(void);

/**
 * @brief Increment DATA TX counter
 */
void pkt_stats_inc_data_tx(void);

/**
 * @brief Increment DATA Forwarding counter
 */
void pkt_stats_inc_data_fwd(void);

/**
 * @brief Increment Route Change counter
 */
void pkt_stats_inc_route_change(void);

/**
 * @brief Increment Queue Drop counter
 */
void pkt_stats_inc_queue_drop(void);

/**
 * @brief Get current packet statistics
 *
 * @param stats Pointer to struct to fill with current stats
 */
void pkt_stats_get(struct packet_stats *stats);

/**
 * @brief Get Gradient Beacon TX count
 * @return Current count
 */
uint32_t pkt_stats_get_gradient_beacon(void);

/**
 * @brief Get Heartbeat TX count
 * @return Current count
 */
uint32_t pkt_stats_get_heartbeat(void);

/**
 * @brief Get DATA TX count
 * @return Current count
 */
uint32_t pkt_stats_get_data_tx(void);

/**
 * @brief Get DATA Forward count
 * @return Current count
 */
uint32_t pkt_stats_get_data_fwd(void);

/**
 * @brief Get Route Change count
 * @return Current count
 */
uint32_t pkt_stats_get_route_change(void);

/**
 * @brief Get Queue Drop count
 * @return Current count
 */
uint32_t pkt_stats_get_queue_drop(void);

/**
 * @brief Increment RX Data counter
 */
void pkt_stats_inc_rx(void);

/**
 * @brief Get RX Data count
 * @return Current count
 */
uint32_t pkt_stats_get_rx(void);

/**
 * @brief Get and reset Topology Metrics (Drop Count and Forwarding Rate)
 * @param drops Pointer to store current drop count snippet
 * @param fwd_rate Pointer to store current forwarding rate delta
 */
void pkt_stats_get_and_reset_topo_metrics(uint32_t *drops, uint32_t *fwd_rate);

/**
 * @brief Get total CONTROL packet count (Beacon + Heartbeat)
 * @return Total control packet count
 */
uint32_t pkt_stats_get_control_total(void);

/**
 * @brief Reset all counters to 0
 */
void pkt_stats_reset(void);

/**
 * @brief Enable or disable packet statistics collection
 * @param enable true to enable, false to disable
 */
void pkt_stats_set_enabled(bool enable);

/**
 * @brief Check if statistics collection is currently enabled
 * @return true if enabled, false otherwise
 */
bool pkt_stats_is_enabled(void);

#ifdef __cplusplus
}
#endif

#endif /* PACKET_STATS_H__ */
```

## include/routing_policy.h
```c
/*
 * Copyright (c) 2024 Nordic Semiconductor ASA
 *
 * SPDX-License-Identifier: LicenseRef-Nordic-5-Clause
 */

#ifndef ROUTING_POLICY_H
#define ROUTING_POLICY_H

#include <stdint.h>
#include <stdbool.h>

#ifdef __cplusplus
extern "C" {
#endif

/**
 * @brief RSSI threshold for accepting gradient messages
 *
 * Messages with RSSI below this value are dropped.
 */
#define RP_RSSI_THRESHOLD (-60)

/**
 * @brief Check if a candidate's RSSI is acceptable
 *
 * Preserves existing heuristic: drop gradients with RSSI below threshold.
 *
 * @param rssi Received signal strength indicator
 *
 * @return true if RSSI is acceptable (>= threshold), false otherwise
 */
bool rp_is_candidate_acceptable(int8_t rssi);

/**
 * @brief Check if received gradient should be processed
 *
 * Preserves existing rule: ignore if received_grad > my_grad.
 *
 * @param received_grad Gradient value from received message
 * @param my_grad Current node's gradient value
 *
 * @return true if gradient should be processed, false if should be ignored
 */
bool rp_should_process_gradient(uint8_t received_grad, uint8_t my_grad);

/**
 * @brief Compare two entries to determine if new is better than old
 *
 * Preserves sorting rule: smaller gradient is better; on tie, higher RSSI is better.
 *
 * @param new_grad New entry's gradient
 * @param new_rssi New entry's RSSI
 * @param old_grad Old entry's gradient
 * @param old_rssi Old entry's RSSI
 *
 * @return true if new entry is better than old entry
 */
bool rp_is_better(uint8_t new_grad, int8_t new_rssi, uint8_t old_grad, int8_t old_rssi);

/**
 * @brief Compute new gradient value from best parent
 *
 * Preserves existing: best_parent_grad + 1 with uint8_t semantics.
 *
 * @param best_parent_grad Gradient value of best parent node
 *
 * @return Computed gradient value (best_parent_grad + 1)
 */
uint8_t rp_compute_new_gradient(uint8_t best_parent_grad);

/**
 * @brief Check if node's gradient should be updated
 *
 * Preserves existing update condition: update if my_grad > best_parent_grad + 1.
 *
 * @param my_grad Current node's gradient value
 * @param best_parent_grad Best parent's gradient value
 *
 * @return true if gradient should be updated, false otherwise
 */
bool rp_should_update_my_gradient(uint8_t my_grad, uint8_t best_parent_grad);

#ifdef __cplusplus
}
#endif

#endif /* ROUTING_POLICY_H */
```
